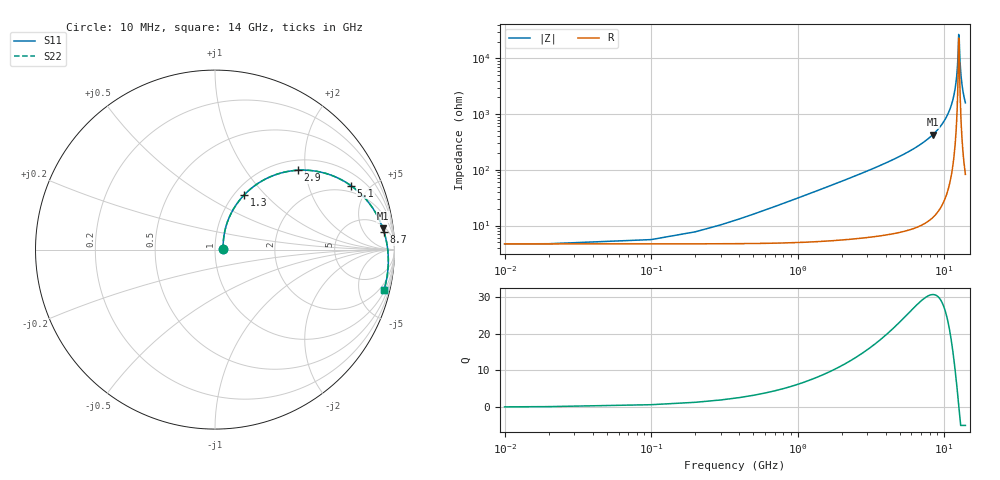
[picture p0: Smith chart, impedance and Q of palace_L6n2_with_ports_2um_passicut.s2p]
#  GHZ S DB R 50.0
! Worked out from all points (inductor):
!   142 points, 10 MHz to 14 GHz, reference 50 ohm
!   read as one part in series: L = 4.86 nH near 500 MHz
!   highest Q = 30.7 at 8.4 GHz (marker M1), where L = 8.13 nH
!   self-resonance near 12.6 GHz
!   S11 on the Smith chart (normalised r, x): 10 MHz: 1.09, +0.01; 1.3 GHz: 1.11, +0.77; 2.9 GHz: 1.22, +1.81; 5.1 GHz: 1.61, +3.83; 8.7 GHz: 8, +15; 14 GHz: 1.16, -8.34
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0.01  -26.97 3.2  -0.40 -0.2  -0.40 -0.2  -26.97 3.2
0.6  -15.47 65.8  -0.58 -10.5  -0.58 -10.5  -15.47 65.8
1.3  -9.26 62.0  -1.08 -21.8  -1.08 -21.8  -9.26 62.0
2.4  -4.99 49.3  -2.32 -37.1  -2.32 -37.1  -4.99 49.3
2.9  -3.91 43.9  -3.01 -42.9  -3.01 -42.9  -3.91 43.9
4.7  -1.80 28.1  -5.82 -59.7  -5.82 -59.7  -1.80 28.1
5.1  -1.55 25.2  -6.50 -62.7  -6.50 -62.7  -1.55 25.2
7.1  -0.76 13.4  -10.21 -74.8  -10.21 -74.8  -0.76 13.4
8.4  -0.51 7.2  -13.08 -81.0  -13.08 -81.0  -0.51 7.2
8.7  -0.47 5.9  -13.83 -82.3  -13.83 -82.3  -0.47 5.9
9.4  -0.39 2.9  -15.78 -85.1  -15.78 -85.1  -0.39 2.9
10.8  -0.30 -2.5  -21.12 -89.8  -21.12 -89.8  -0.30 -2.5
11.7  -0.27 -5.7  -27.18 -91.1  -27.18 -91.1  -0.27 -5.7
12  -0.26 -6.7  -30.56 -90.3  -30.56 -90.3  -0.26 -6.7
12.3  -0.26 -7.8  -36.00 -86.1  -36.00 -86.1  -0.26 -7.8
12.5  -0.26 -8.4  -43.00 -72.1  -43.00 -72.1  -0.26 -8.4
12.6  -0.26 -8.8  -48.90 -38.7  -48.90 -38.7  -0.26 -8.8
12.7  -0.26 -9.1  -47.70 32.5  -47.70 32.5  -0.26 -9.1
12.9  -0.26 -9.8  -38.34 65.7  -38.34 65.7  -0.26 -9.8
13.1  -0.26 -10.5  -33.62 71.3  -33.62 71.3  -0.26 -10.5
13.5  -0.27 -11.8  -28.33 73.8  -28.33 73.8  -0.27 -11.8
14  -0.28 -13.4  -24.46 73.8  -24.46 73.8  -0.28 -13.4
